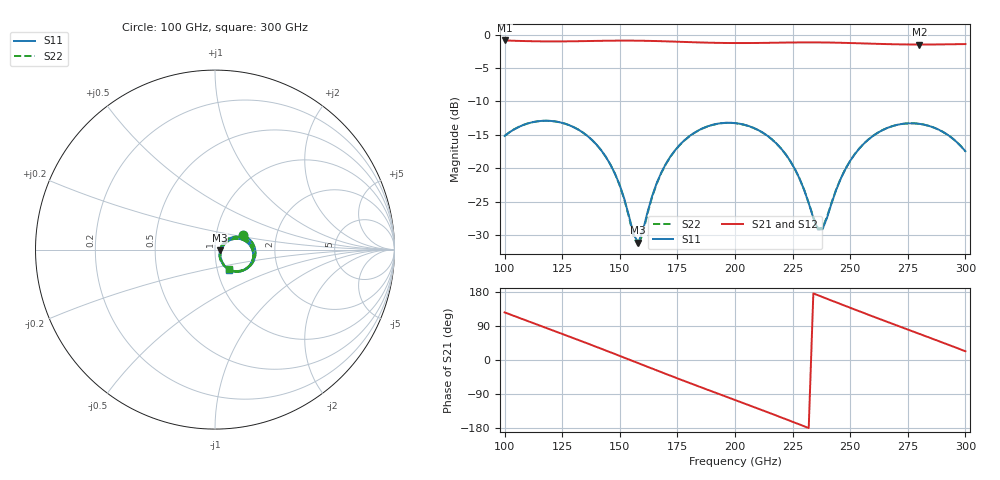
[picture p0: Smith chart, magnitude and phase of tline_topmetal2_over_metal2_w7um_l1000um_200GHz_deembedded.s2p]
! Created with skrf 2.2.0 (http://scikit-rf.org).
# GHz S DB R 50.0
! Port[1] = P1
! Port[2] = P2
!freq dBS11 angS11 dBS21 angS21 dBS12 angS12 dBS22 angS22
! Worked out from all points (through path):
!   101 points, 100 GHz to 300 GHz, reference 50 ohm
!   highest |S21| = -0.88 dB at 100 GHz (marker M1); lowest = -1.5 dB at 280 GHz (marker M2)
!   group delay of S21, straight-line fit = 6.44 ps
!   lowest |S11| = -31.1 dB at 158 GHz (marker M3), VSWR 1.06, Z = 52.8 - j0.386 ohm
!   |S11| at or under -10 dB: start of sweep to end of sweep
!   |S22| runs from -31.6 to -12.9 dB; largest |S21 - S12| = 9.7e-14
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100  -15.15 27.1  -0.88 125.7  -0.88 125.7  -15.15 26.9
116  -12.90 -4.6  -1.01 89.2  -1.01 89.2  -12.90 -4.9
124  -13.11 -20.6  -1.02 71.1  -1.02 71.1  -13.11 -20.9
134  -14.64 -40.2  -0.98 48.2  -0.98 48.2  -14.64 -40.6
148  -20.86 -61.5  -0.91 15.5  -0.91 15.5  -20.88 -62.5
158  -31.11 -7.5  -0.92 -8.3  -0.92 -8.3  -31.63 -7.8
168  -20.63 38.9  -0.99 -32.0  -0.99 -32.0  -20.69 39.8
176  -16.49 28.3  -1.08 -50.7  -1.08 -50.7  -16.52 28.8
184  -14.34 13.8  -1.17 -69.2  -1.17 -69.2  -14.36 14.2
200  -13.22 -17.0  -1.27 -105.5  -1.27 -105.5  -13.24 -16.7
210  -14.26 -36.0  -1.25 -128.3  -1.25 -128.3  -14.27 -35.7
220  -17.03 -53.0  -1.20 -151.4  -1.20 -151.4  -17.04 -52.6
228  -21.52 -60.4  -1.17 -170.1  -1.17 -170.1  -21.51 -59.8
234  -27.41 -44.7  -1.17 175.7  -1.17 175.7  -27.31 -43.8
236  -29.15 -25.6  -1.17 170.9  -1.17 170.9  -28.97 -24.9
238  -29.10 -0.9  -1.18 166.2  -1.18 166.2  -28.90 -0.9
250  -18.88 30.5  -1.26 137.9  -1.26 137.9  -18.85 30.2
260  -15.12 15.6  -1.37 114.6  -1.37 114.6  -15.11 15.4
268  -13.72 0.9  -1.44 96.3  -1.44 96.3  -13.72 0.9
280  -13.34 -21.7  -1.48 69.1  -1.48 69.1  -13.34 -21.7
290  -14.49 -40.1  -1.46 46.3  -1.46 46.3  -14.50 -39.9
300  -17.44 -55.9  -1.42 23.1  -1.42 23.1  -17.44 -55.4
